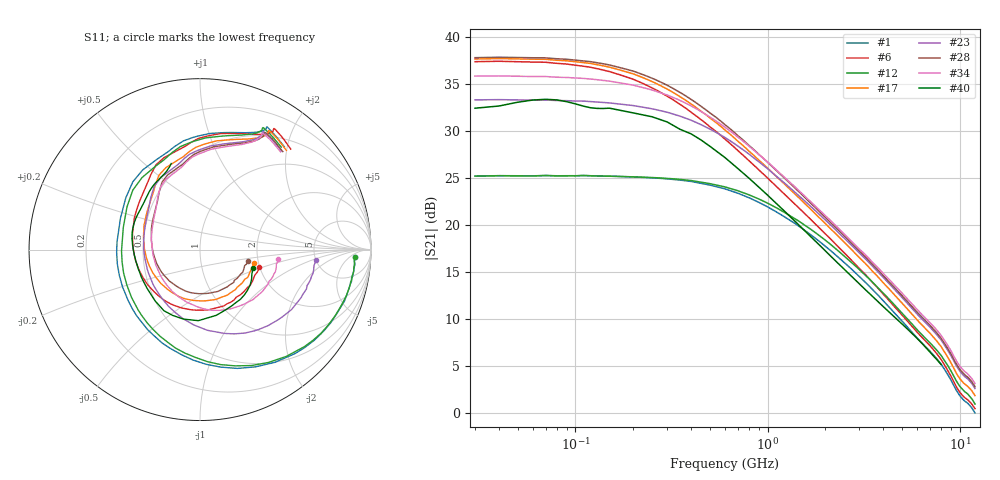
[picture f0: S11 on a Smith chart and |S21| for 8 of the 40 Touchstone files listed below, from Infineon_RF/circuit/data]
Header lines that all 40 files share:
! Infineon Technologies  Discrete & RF Semiconductors
# GHz  S  MA  R  50
!  f  S11  S21  S12  S22
! GHz  MAG  ANG  MAG  ANG  MAG  ANG  MAG  ANG
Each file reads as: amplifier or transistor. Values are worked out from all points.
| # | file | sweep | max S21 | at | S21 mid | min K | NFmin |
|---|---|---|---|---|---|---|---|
| 1 | BFP620_w_noise_VCE_1.0V_IC_6.0mA.s2p | 30 MHz to 12 GHz | 25.3 dB | 70 MHz | 18.2 dB at 1.88 GHz | 0.02 | 0.65 dB |
| 2 | BFP620_w_noise_VCE_1.0V_IC_8.0mA.s2p | 30 MHz to 12 GHz | 27.4 dB | 70 MHz | 18.8 dB at 1.88 GHz | 0.02 | 0.69 dB |
| 3 | BFP620_w_noise_VCE_1.0V_IC_20mA.s2p | 30 MHz to 12 GHz | 33.5 dB | 40 MHz | 19.6 dB at 1.88 GHz | 0.05 | 0.95 dB |
| 4 | BFP620_w_noise_VCE_1.0V_IC_30mA.s2p | 30 MHz to 12 GHz | 35.6 dB | 40 MHz | 19.7 dB at 1.88 GHz | 0.11 | 1.15 dB |
| 5 | BFP620_w_noise_VCE_1.0V_IC_35mA.s2p | 30 MHz to 12 GHz | 36.2 dB | 40 MHz | 19.7 dB at 1.88 GHz | 0.12 | 1.24 dB |
| 6 | BFP620_w_noise_VCE_1.0V_IC_50mA.s2p | 30 MHz to 12 GHz | 37.4 dB | 40 MHz | 19.6 dB at 1.88 GHz | 0.17 | 1.51 dB |
| 7 | BFP620_w_noise_VCE_1.0V_IC_55mA.s2p | 30 MHz to 12 GHz | 37.6 dB | 40 MHz | 19.5 dB at 1.88 GHz | 0.19 | 1.59 dB |
| 8 | BFP620_w_noise_VCE_1.0V_IC_80mA.s2p | 30 MHz to 12 GHz | 36.9 dB | 40 MHz | 18.4 dB at 1.88 GHz | 0.41 | 2.02 dB |
| 9 | BFP620_w_noise_VCE_1.5V_IC_1.0mA.s2p | 30 MHz to 12 GHz | 11.1 dB | 110 MHz | 9.9 dB at 1.88 GHz | -0.01 | 0.71 dB |
| 10 | BFP620_w_noise_VCE_1.5V_IC_2.0mA.s2p | 30 MHz to 12 GHz | 16.5 dB | 110 MHz | 14.2 dB at 1.88 GHz | -0.02 | 0.64 dB |
| 11 | BFP620_w_noise_VCE_1.5V_IC_4.0mA.s2p | 30 MHz to 12 GHz | 22.1 dB | 110 MHz | 17.5 dB at 1.88 GHz | 0.01 | 0.63 dB |
| 12 | BFP620_w_noise_VCE_1.5V_IC_6.0mA.s2p | 30 MHz to 12 GHz | 25.3 dB | 110 MHz | 18.8 dB at 1.88 GHz | 0.02 | 0.65 dB |
| 13 | BFP620_w_noise_VCE_1.5V_IC_10mA.s2p | 30 MHz to 12 GHz | 29.0 dB | 70 MHz | 19.8 dB at 1.88 GHz | 0.05 | 0.73 dB |
| 14 | BFP620_w_noise_VCE_1.5V_IC_15mA.s2p | 30 MHz to 12 GHz | 31.7 dB | 40 MHz | 20.3 dB at 1.88 GHz | 0.04 | 0.85 dB |
| 15 | BFP620_w_noise_VCE_1.5V_IC_35mA.s2p | 30 MHz to 12 GHz | 36.2 dB | 40 MHz | 20.7 dB at 1.88 GHz | 0.11 | 1.24 dB |
| 16 | BFP620_w_noise_VCE_1.5V_IC_50mA.s2p | 30 MHz to 12 GHz | 37.5 dB | 40 MHz | 20.7 dB at 1.88 GHz | 0.15 | 1.51 dB |
| 17 | BFP620_w_noise_VCE_1.5V_IC_55mA.s2p | 30 MHz to 12 GHz | 37.7 dB | 40 MHz | 20.7 dB at 1.88 GHz | 0.16 | 1.59 dB |
| 18 | BFP620_w_noise_VCE_1.5V_IC_60mA.s2p | 30 MHz to 12 GHz | 37.9 dB | 40 MHz | 20.7 dB at 1.88 GHz | 0.17 | 1.69 dB |
| 19 | BFP620_w_noise_VCE_2.0V_IC_4.0mA.s2p | 30 MHz to 12 GHz | 22.1 dB | 110 MHz | 17.9 dB at 1.88 GHz | 0.05 | 0.63 dB |
| 20 | BFP620_w_noise_VCE_2.0V_IC_5.0mA.s2p | 30 MHz to 12 GHz | 23.9 dB | 110 MHz | 18.7 dB at 1.88 GHz | 0.07 | 0.63 dB |
| 21 | BFP620_w_noise_VCE_2.0V_IC_6.0mA.s2p | 30 MHz to 12 GHz | 25.2 dB | 110 MHz | 19.2 dB at 1.88 GHz | 0.08 | 0.65 dB |
| 22 | BFP620_w_noise_VCE_2.0V_IC_10mA.s2p | 30 MHz to 12 GHz | 29.0 dB | 40 MHz | 20.3 dB at 1.88 GHz | 0.13 | 0.73 dB |
| 23 | BFP620_w_noise_VCE_2.0V_IC_20mA.s2p | 30 MHz to 12 GHz | 33.3 dB | 40 MHz | 21.0 dB at 1.88 GHz | 0.20 | 0.95 dB |
| 24 | BFP620_w_noise_VCE_2.0V_IC_25mA.s2p | 30 MHz to 12 GHz | 34.5 dB | 40 MHz | 21.2 dB at 1.88 GHz | 0.21 | 1.05 dB |
| 25 | BFP620_w_noise_VCE_2.0V_IC_35mA.s2p | 30 MHz to 12 GHz | 36.1 dB | 40 MHz | 21.3 dB at 1.88 GHz | 0.21 | 1.24 dB |
| 26 | BFP620_w_noise_VCE_2.0V_IC_40mA.s2p | 30 MHz to 12 GHz | 36.6 dB | 40 MHz | 21.3 dB at 1.88 GHz | 0.20 | 1.33 dB |
| 27 | BFP620_w_noise_VCE_2.0V_IC_55mA.s2p | 30 MHz to 12 GHz | 37.7 dB | 40 MHz | 21.4 dB at 1.88 GHz | 0.18 | 1.59 dB |
| 28 | BFP620_w_noise_VCE_2.0V_IC_60mA.s2p | 30 MHz to 12 GHz | 37.9 dB | 40 MHz | 21.3 dB at 1.88 GHz | 0.18 | 1.69 dB |
| 29 | BFP620_w_noise_VCE_2.0V_IC_70mA.s2p | 30 MHz to 12 GHz | 38.1 dB | 40 MHz | 21.3 dB at 1.88 GHz | 0.19 | 1.85 dB |
| 30 | BFP620_w_noise_VCE_2.0V_IC_80mA.s2p | 30 MHz to 12 GHz | 38.3 dB | 40 MHz | 21.2 dB at 1.88 GHz | 0.20 | 2.02 dB |
| 31 | BFP620_w_noise_VCE_2.3V_IC_2.0mA.s2p | 30 MHz to 12 GHz | 16.6 dB | 110 MHz | 14.5 dB at 1.88 GHz | 0.04 | 0.64 dB |
| 32 | BFP620_w_noise_VCE_2.3V_IC_5.0mA.s2p | 30 MHz to 12 GHz | 23.9 dB | 110 MHz | 18.8 dB at 1.88 GHz | 0.11 | 0.63 dB |
| 33 | BFP620_w_noise_VCE_2.3V_IC_8.0mA.s2p | 30 MHz to 12 GHz | 27.3 dB | 70 MHz | 20.0 dB at 1.88 GHz | 0.17 | 0.69 dB |
| 34 | BFP620_w_noise_VCE_2.3V_IC_35mA.s2p | 30 MHz to 12 GHz | 35.9 dB | 40 MHz | 21.5 dB at 1.88 GHz | 0.35 | 1.24 dB |
| 35 | BFP620_w_noise_VCE_2.3V_IC_40mA.s2p | 30 MHz to 12 GHz | 36.4 dB | 40 MHz | 21.6 dB at 1.88 GHz | 0.34 | 1.33 dB |
| 36 | BFP620_w_noise_VCE_2.3V_IC_50mA.s2p | 30 MHz to 12 GHz | 37.2 dB | 40 MHz | 21.6 dB at 1.88 GHz | 0.30 | 1.51 dB |
| 37 | BFP620_w_noise_VCE_2.3V_IC_80mA.s2p | 30 MHz to 12 GHz | 38.2 dB | 40 MHz | 21.5 dB at 1.88 GHz | 0.21 | 2.02 dB |
| 38 | BFP620F_VCE_0.5V_IC_60mA.s2p | 30 MHz to 8 GHz | 17.9 dB | 30 MHz | -2.4 dB at 3.3 GHz | 1.25 | - |
| 39 | BFP620F_VCE_0.5V_IC_70mA.s2p | 30 MHz to 8 GHz | 8.7 dB | 30 MHz | -8.3 dB at 3.3 GHz | 1.28 | - |
| 40 | BFP620F_VCE_0.8V_IC_55mA.s2p | 30 MHz to 8 GHz | 33.4 dB | 70 MHz | 12.9 dB at 3.3 GHz | 0.21 | - |

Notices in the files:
2_Circuitos/LNA/simulaciones/Infineon_RF/circuit/data/BFP620F_VCE_0.5V_IC_60mA.s2p:
(c) 2014  Infineon Technologies AG, Munich
2_Circuitos/LNA/simulaciones/Infineon_RF/circuit/data/BFP620_w_noise_VCE_1.0V_IC_20mA.s2p:
(c) 2015  Infineon Technologies AG, Munich
